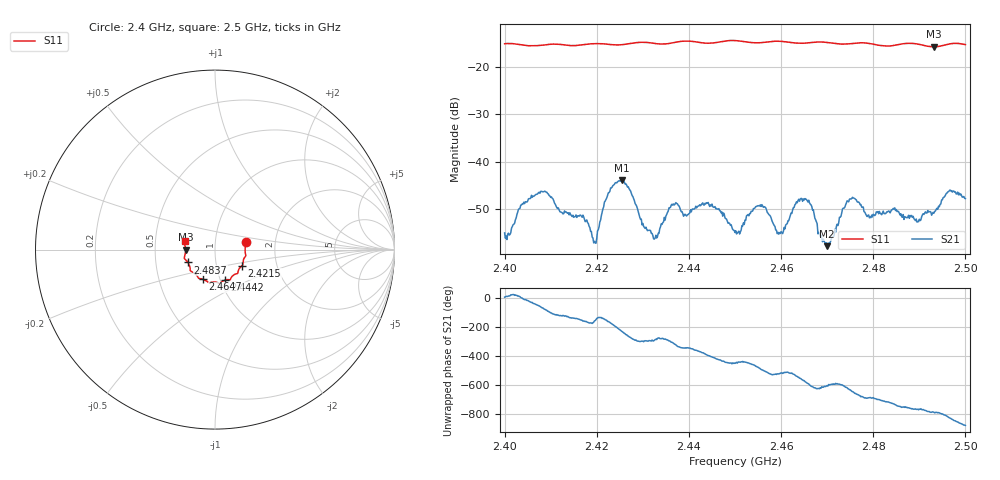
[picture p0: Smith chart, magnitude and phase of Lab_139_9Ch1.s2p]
# Hz S RI R 50
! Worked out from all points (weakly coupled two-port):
!   601 points, 2.4 GHz to 2.5 GHz, reference 50 ohm
!   highest |S21| = -44.00 dB at 2.4255 GHz (marker M1); lowest = -57.9 dB at 2.47 GHz (marker M2)
!   lowest |S11| = -15.7 dB at 2.4932 GHz (marker M3), VSWR 1.39, Z = 35.9 - j0.0699 ohm
!   |S11| at or under -10 dB: start of sweep to end of sweep
!   S12 and S22 are empty: the file has one direction only
!   S11 on the Smith chart (normalised r, x): 2.4 GHz: 1.41, +0.12; 2.4215 GHz: 1.33, -0.25; 2.4442 GHz: 1.05, -0.37; 2.4647 GHz: 0.83, -0.28; 2.4837 GHz: 0.73, -0.11; 2.5 GHz: 0.71, +0.07
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2.4e9  0.1715 0.0402  0.00173 0.000272  0 0  0 0
2.407833e9  0.1683 -0.0193  0.00253 -0.00411  0 0  0 0
2.416667e9  0.1567 -0.0699  -0.0023 -0.0013  0 0  0 0
2.4195e9  0.1549 -0.0852  -0.0013 -0.00059  0 0  0 0
2.4215e9  0.1513 -0.0899  -0.00258 -0.00208  0 0  0 0
2.4255e9  0.1322 -0.1108  -0.00415 0.00475  0 0  0 0
2.430333e9  0.1253 -0.1329  0.000834 0.00183  0 0  0 0
2.433333e9  0.1083 -0.1385  0.000133 0.00173  0 0  0 0
2.436667e9  0.0894 -0.1575  0.00232 0.00269  0 0  0 0
2.444167e9  0.0566 -0.1694  0.00299 -0.00214  0 0  0 0
2.45e9  0.0249 -0.189  5.26e-06 -0.00177  0 0  0 0
2.4555e9  -0.0125 -0.1805  -0.00214 -0.00274  0 0  0 0
2.46e9  -0.0356 -0.1837  -0.00165 -0.000746  0 0  0 0
2.464667e9  -0.0674 -0.1653  -0.00345 0.00157  0 0  0 0
2.466667e9  -0.0827 -0.1621  -0.00114 0.00313  0 0  0 0
2.47e9  -0.0936 -0.1561  -0.000564 0.00114  0 0  0 0
2.475333e9  -0.1253 -0.1249  0.000942 0.00395  0 0  0 0
2.483333e9  -0.1489 -0.075  0.00299 8.75e-05  0 0  0 0
2.483667e9  -0.1509 -0.0716  0.00286 -0.000136  0 0  0 0
2.493167e9  -0.1637 -0.000947  0.00104 -0.00264  0 0  0 0
2.4965e9  -0.1724 0.0326  -0.00142 -0.00468  0 0  0 0
2.5e9  -0.1652 0.0504  -0.00381 -0.00137  0 0  0 0
